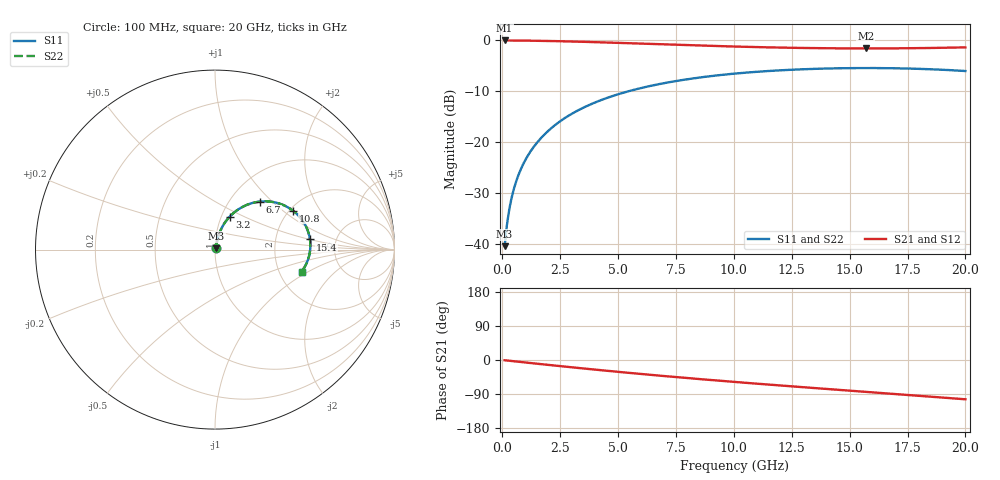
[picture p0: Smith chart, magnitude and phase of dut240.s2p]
! Touchstone file exported from HFSS 2026.1.0
!  File:  C:/ffzhzh/LocalFiles/Ansys_Project_Files/temp_train_TSV_RDL_240_1783066129_17544.aedt
!  Generated:  04:19:25 PM Jul  3, 2026
!  Design:  TSV_RDL
!  Project:  temp_train_TSV_RDL_240_1783066129_17544
! Variables:
!  h_bsmrdl = 5.89um
!  h_ox = 20um
!  h_rdl = 5um
!  h_sub = 65.51um
!  h_tmrdl = 5.77um
!  h_tsv = 65.51um
!  h_via = 3um
!  l_bsmrdl = 132.87um
!  l_sub = 1802.34um
!  l_tmrdl = 223.52um
!  m_sub = 200um
!  pitch = 54.32um
!  r_tsv = 10.21um
!  s_tmrdl = 10um
!  w_bsmrdl = 23.41um
!  w_sub = 500um
!  w_tmrdl = 13.14um
!  x_tsv_center1 = 230.09um
!  x_tsv_center2 = 386.37um
!  x_tsv_center3 = 623.03um
!  x_tsv_center4 = 779.31um
!  x_tsv_center5 = 1015.97um
!  x_tsv_center6 = 1172.25um
# GHz S MA R 50.000000
! Terminal data exported
! Port[1] = TM_RDL1_1_T1
! Port[2] = TM_RDL5_1_T1
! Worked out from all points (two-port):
!   200 points, 100 MHz to 20 GHz, reference 50 ohm
!   highest |S21| = -0.06 dB at 100 MHz (marker M1); lowest = -1.6 dB at 15.7 GHz (marker M2)
!   |S21| within 3 dB of the highest: start of sweep to end of sweep
!   lowest |S11| = -40.5 dB at 100 MHz (marker M3), VSWR 1.02, Z = 50.7 + j0.695 ohm
!   |S11| at or under -10 dB: start of sweep to 5.478 GHz
!   |S22| runs from -40.5 to -5.5 dB; largest |S21 - S12| = 4.8e-14
!   S11 on the Smith chart (normalised r, x): 100 MHz: 1.01, +0.01; 3.2 GHz: 1.09, +0.42; 6.7 GHz: 1.37, +0.85; 10.8 GHz: 2.08, +1.18; 15.4 GHz: 3.19, +0.50; 20 GHz: 2.66, -0.87
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0.1  0.009481 46.3  0.9935 -0.7  0.9935 -0.7  0.009481 46.3
! Gamma 0 0 0 0
! Port Impedance 50 0 50 0
0.2  0.01532 62.9  0.9933 -1.3  0.9933 -1.3  0.01532 62.9
0.3  0.0217 69.5  0.9929 -2.0  0.9929 -2.0  0.0217 69.5
0.4  0.02817 72.6  0.9925 -2.7  0.9925 -2.7  0.02817 72.6
0.5  0.03465 74.3  0.992 -3.3  0.992 -3.3  0.03465 74.3
0.7  0.04755 75.9  0.9911 -4.6  0.9911 -4.6  0.04755 75.9
1  0.0668 76.2  0.9895 -6.6  0.9895 -6.6  0.0668 76.2
1.4  0.09225 75.2  0.9869 -9.2  0.9869 -9.2  0.09225 75.2
1.9  0.1235 73.1  0.9826 -12.4  0.9826 -12.4  0.1235 73.1
2.5  0.1599 69.9  0.9764 -16.2  0.9764 -16.2  0.1599 69.9
3.2  0.2005 66.0  0.9677 -20.5  0.9677 -20.5  0.2005 66.0
3.5  0.2172 64.3  0.9636 -22.4  0.9636 -22.4  0.2172 64.3
4.9  0.2894 56.5  0.9427 -30.7  0.9427 -30.7  0.2894 56.5
6.7  0.3674 46.7  0.9138 -40.8  0.9138 -40.8  0.3674 46.7
6.8  0.3713 46.2  0.9122 -41.3  0.9122 -41.3  0.3713 46.2
10.1  0.4709 29.9  0.865 -58.2  0.865 -58.2  0.4709 29.9
10.8  0.4855 26.6  0.857 -61.6  0.857 -61.6  0.4855 26.6
13.4  0.522 14.8  0.8359 -73.6  0.8359 -73.6  0.522 14.9
15.4  0.5321 6.1  0.8297 -82.6  0.8297 -82.6  0.5321 6.1
15.7  0.5324 4.8  0.8296 -84.0  0.8296 -84.0  0.5324 4.8
16.7  0.5307 0.4  0.8306 -88.5  0.8306 -88.5  0.5307 0.4
20  0.4976 -14.3  0.8497 -103.7  0.8497 -103.7  0.4976 -14.3
